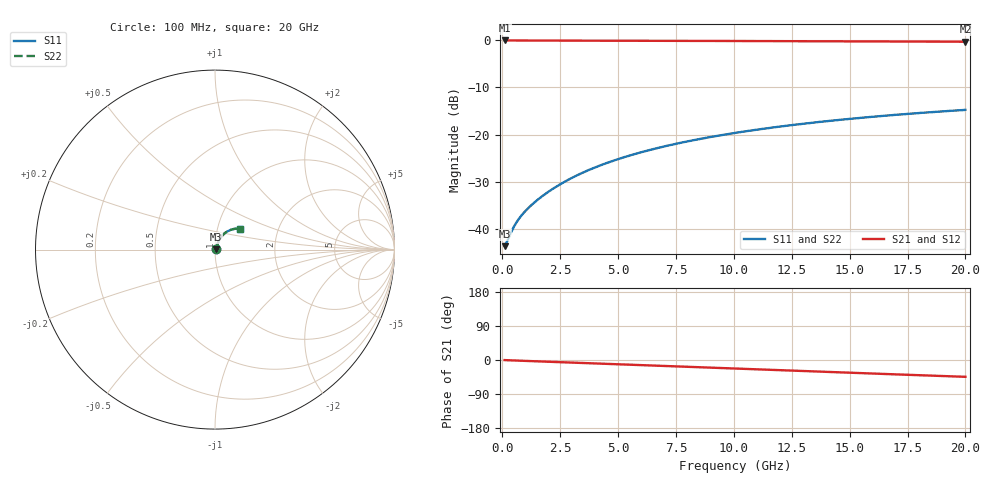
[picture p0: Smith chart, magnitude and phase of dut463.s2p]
! Touchstone file exported from HFSS 2026.1.0
!  File:  C:/ffzhzh/LocalFiles/Ansys_Project_Files/temp_train_BSMRDL_463_1783013528_46388.aedt
!  Generated:  01:33:26 AM Jul  3, 2026
!  Design:  BSMRDL
!  Project:  temp_train_BSMRDL_463_1783013528_46388
! Variables:
!  h_bsmrdl = 2.24um
!  h_ox = 20um
!  h_rdl = 5um
!  h_sub = 80um
!  h_tmrdl = 5um
!  h_tsv = 80um
!  h_via = 3um
!  l_bsmrdl = 766.22um
!  l_sub = 1166.22um
!  l_tmrdl = 200um
!  m_sub = 200um
!  pitch = 26.38um
!  r_tsv = 6um
!  s_tmrdl = 10um
!  w_bsmrdl = 19.65um
!  w_sub = 500um
!  w_tmrdl = 12um
!  x_tsv_center1 = 206um
!  x_tsv_center2 = 991.87um
!  x_tsv_center3 = 1203.87um
!  x_tsv_center4 = 1989.74um
!  x_tsv_center5 = 2201.74um
!  x_tsv_center6 = 2987.61um
# GHz S MA R 50.000000
! Terminal data exported
! Port[1] = BSM_RDL1_1_T1
! Port[2] = BSM_RDL1_1_T2
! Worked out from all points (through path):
!   200 points, 100 MHz to 20 GHz, reference 50 ohm
!   highest |S21| = -0.06 dB at 100 MHz (marker M1); lowest = -0.3 dB at 20 GHz (marker M2)
!   group delay of S21, straight-line fit = 6.16 ps
!   lowest |S11| = -43.6 dB at 100 MHz (marker M3), VSWR 1.01, Z = 50.6 + j0.163 ohm
!   |S11| at or under -10 dB: start of sweep to end of sweep
!   |S22| runs from -43.6 to -14.8 dB; largest |S21 - S12| = 3.5e-15
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0.1  0.006598 14.2  0.9936 -0.3  0.9936 -0.3  0.006598 14.2
! Gamma 0 0 0 0
! Port Impedance 50 0 50 0
0.2  0.007353 25.5  0.9934 -0.5  0.9934 -0.5  0.007353 25.5
0.4  0.009474 38.7  0.9927 -1.0  0.9927 -1.0  0.009474 38.7
0.5  0.01058 42.4  0.9923 -1.2  0.9923 -1.2  0.01058 42.4
0.6  0.01165 45.2  0.992 -1.5  0.992 -1.5  0.01165 45.2
0.7  0.01268 47.4  0.9916 -1.7  0.9916 -1.7  0.01268 47.4
0.9  0.01463 50.8  0.9911 -2.2  0.9911 -2.2  0.01463 50.8
1.2  0.01743 54.8  0.9906 -2.8  0.9906 -2.8  0.01743 54.8
1.7  0.02209 59.6  0.99 -4.0  0.99 -4.0  0.02209 59.6
2.2  0.02688 62.8  0.9896 -5.1  0.9896 -5.1  0.02688 62.8
2.8  0.0328 65.1  0.9891 -6.4  0.9891 -6.4  0.0328 65.1
3.5  0.03984 66.4  0.9886 -8.0  0.9886 -8.0  0.03984 66.4
4.2  0.04693 66.9  0.988 -9.6  0.988 -9.6  0.04694 66.9
5  0.05506 66.8  0.9872 -11.4  0.9872 -11.4  0.05506 66.7
5.9  0.06414 66.0  0.9862 -13.4  0.9862 -13.4  0.06414 66.0
6.8  0.07312 65.0  0.9851 -15.5  0.9851 -15.5  0.07313 64.9
8.4  0.08875 62.5  0.9829 -19.0  0.9829 -19.0  0.08876 62.5
10.1  0.1048 59.5  0.9804 -22.8  0.9804 -22.8  0.1048 59.5
11.7  0.1192 56.5  0.9777 -26.4  0.9777 -26.4  0.1192 56.4
13.4  0.1338 53.1  0.9748 -30.1  0.9748 -30.1  0.1339 53.1
16.7  0.16 46.5  0.9689 -37.3  0.9689 -37.3  0.16 46.4
20  0.1829 39.8  0.9632 -44.4  0.9632 -44.4  0.1829 39.7
